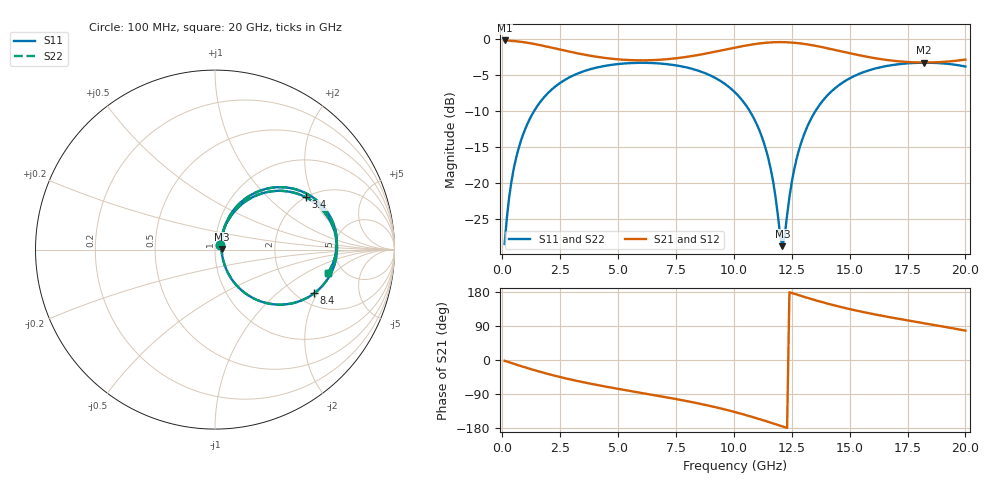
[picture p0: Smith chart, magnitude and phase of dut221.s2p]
! Touchstone file exported from HFSS 2026.1.0
!  File:  C:/ffzhzh/LocalFiles/Ansys_Project_Files/temp_train_TSV_RDL_221_1783063168_36532.aedt
!  Generated:  03:34:40 PM Jul  3, 2026
!  Design:  TSV_RDL
!  Project:  temp_train_TSV_RDL_221_1783063168_36532
! Variables:
!  h_bsmrdl = 4.58um
!  h_ox = 20um
!  h_rdl = 5um
!  h_sub = 98.74um
!  h_tmrdl = 4.51um
!  h_tsv = 98.74um
!  h_via = 3um
!  l_bsmrdl = 112.48um
!  l_sub = 4723.09um
!  l_tmrdl = 972.06um
!  m_sub = 200um
!  pitch = 58.78um
!  r_tsv = 6.63um
!  s_tmrdl = 10um
!  w_bsmrdl = 20.41um
!  w_sub = 500um
!  w_tmrdl = 12.06um
!  x_tsv_center1 = 978.09um
!  x_tsv_center2 = 1110.98um
!  x_tsv_center3 = 2095.1um
!  x_tsv_center4 = 2227.99um
!  x_tsv_center5 = 3212.11um
!  x_tsv_center6 = 3345um
# GHz S MA R 50.000000
! Terminal data exported
! Port[1] = TM_RDL1_1_T1
! Port[2] = TM_RDL5_1_T1
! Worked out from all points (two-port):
!   200 points, 100 MHz to 20 GHz, reference 50 ohm
!   highest |S21| = -0.25 dB at 100 MHz (marker M1); lowest = -3.3 dB at 18.2 GHz (marker M2)
!   |S21| within 3 dB of the highest: start of sweep to 17.57 GHz; 18.92 GHz to end of sweep
!   lowest |S11| = -28.8 dB at 12.1 GHz (marker M3), VSWR 1.08, Z = 53.8 + j0.199 ohm
!   |S11| at or under -10 dB: start of sweep to 1.383 GHz; 10.68 GHz to 13.53 GHz (2.856 GHz wide, 23.6 % of centre)
!   |S22| runs from -28.8 to -3.3 dB; largest |S21 - S12| = 1.6e-14
!   S11 on the Smith chart (normalised r, x): 100 MHz: 1.06, +0.05; 3.4 GHz: 2.01, +1.78; 8.4 GHz: 2.45, -1.88; 20 GHz: 3.77, -1.69
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0.1  0.03768 40.1  0.9718 -2.0  0.9718 -2.0  0.03768 40.1
! Gamma 0 0 0 0
! Port Impedance 50 0 50 0
0.3  0.08022 62.9  0.9684 -6.1  0.9684 -6.1  0.08022 62.9
0.5  0.1265 66.5  0.963 -10.1  0.963 -10.1  0.1265 66.5
1.1  0.2596 61.7  0.9358 -21.6  0.9358 -21.6  0.2596 61.7
2  0.4237 48.7  0.8758 -37.3  0.8758 -37.3  0.4237 48.7
3.4  0.5851 29.8  0.7824 -57.4  0.7824 -57.4  0.5851 29.8
3.5  0.5929 28.6  0.7768 -58.7  0.7768 -58.7  0.5929 28.6
5.1  0.6692 10.9  0.7166 -77.2  0.7166 -77.2  0.6692 10.9
6.8  0.6726 -6.3  0.7139 -95.3  0.7139 -95.3  0.6727 -6.3
8.4  0.604 -23.7  0.7675 -113.7  0.7675 -113.7  0.604 -23.7
10.1  0.4163 -45.8  0.8703 -138.2  0.8703 -138.2  0.4164 -45.8
10.8  0.2928 -55.5  0.912 -150.3  0.912 -150.3  0.2928 -55.5
11.3  0.1891 -60.6  0.934 -159.7  0.934 -159.7  0.1891 -60.6
11.7  0.1012 -58.1  0.9441 -167.4  0.9441 -167.4  0.1012 -58.1
12.1  0.03637 2.9  0.9462 -175.3  0.9462 -175.3  0.03631 2.9
12.5  0.1007 64.4  0.94 176.9  0.94 176.9  0.1007 64.4
12.7  0.1445 67.2  0.9338 173.0  0.9338 173.0  0.1445 67.3
13.4  0.2909 62.0  0.8997 159.9  0.8997 159.9  0.2909 62.0
14.8  0.5081 43.2  0.8056 137.2  0.8056 137.2  0.5081 43.2
16.7  0.6504 21.2  0.7084 113.3  0.7084 113.3  0.6504 21.2
18.2  0.681 6.2  0.6831 97.1  0.6831 97.1  0.6809 6.2
20  0.6412 -11.8  0.7159 77.5  0.7159 77.5  0.6412 -11.8
